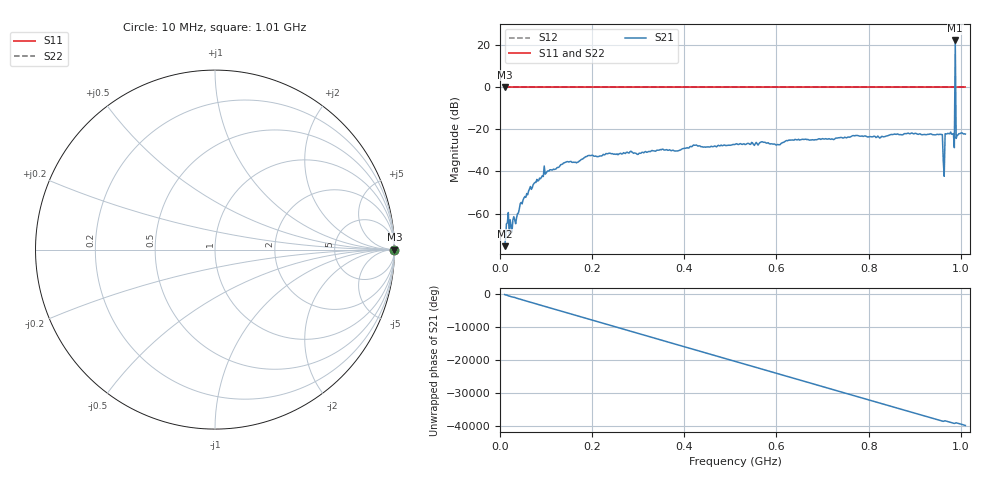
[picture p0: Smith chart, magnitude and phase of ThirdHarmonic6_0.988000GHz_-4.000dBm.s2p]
! 8/16/2025 7:46:05 AM
! C:\ANRITSUVNA\TEMP\TEMP.S2P
! CHANNEL.1
! TR.MEASUREMENT
! RAW.DATA
! RF.CORRECTION.OFF
! AVERAGING.OFF
! IF.BANDWIDTH: 5KHZ
! SWEEPTYPE:  FREQ.SWEEP(Linear)
! Reference Plane Port Info
! PORT:  PORT1  PORT2
! DISTANCE:  0  m  0  m
! TIME:  0  s  0  s
! PHASE.OFFSET:  0  deg.  0  deg.
! LOSS:  0  dB  0  dB
! REF.LOSS:  0  dB  0  dB
! REF.FREQ:  0  Hz  0  Hz
! Power Info
! POWER:  -20  dBm  -20  dBm
! EFF.POWER:  -20  dBm  -20  dBm
! SOURCE.ATTEN:  0  dB  0  dB
! TEST.ATTEN:  0  dB  0  dB
# GHZ S RI R 50.0
! FREQ.GHZ  S11RE  S11IM  S21RE  S21IM  S12RE  S12IM  S22RE  S22IM
!; PortSelection: Port_12
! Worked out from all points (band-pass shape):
!   501 points, 10 MHz to 1.01 GHz, reference 50 ohm
!   highest |S21| = 22.06 dB at 988 MHz (marker M1); lowest = -75.4 dB at 10 MHz (marker M2)
!   |S21| within 3 dB of the highest: 987.8819 MHz to 988.1293 MHz (247.3 kHz wide, 0.025 % of centre)
!   lowest |S11| = 0.0 dB at 10 MHz (marker M3)
!   |S11| at or under -10 dB: nowhere
!   |S22| runs from 0.0 to 0.0 dB; largest |S21 - S12| = 14
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0.01  1 0  -0.000148 -8.23e-05  1 0  1 0
0.018  1 0  -0.000974 -0.000426  1 0  1 0
0.024  1 0  9.88e-05 -0.000499  1 0  1 0
0.03  1 0  2.87e-05 0.000847  1 0  1 0
0.048  1 0  0.000692 0.00156  1 0  1 0
0.076  1 0  0.00548 0.000552  1 0  1 0
0.1  1 0  -0.0036 0.0083  1 0  1 0
0.178  1 0  -0.0187 -0.00511  1 0  1 0
0.344  1 0  0.0315 -0.00532  1 0  1 0
0.51  1 0  -0.042 0.0116  1 0  1 0
0.678  1 0  -0.0179 -0.0535  1 0  1 0
0.844  1 0  0.0396 0.0596  1 0  1 0
0.956  1 0  -0.056 -0.051  1 0  1 0
0.96  1 0  0.0335 0.0664  1 0  1 0
0.966  1 0  -0.0782 0.00111  1 0  1 0
0.97  1 0  0.0728 0.0275  1 0  1 0
0.982  1 0  -0.0169 -0.0743  1 0  1 0
0.984  1 0  -0.0789 0.00303  1 0  1 0
0.988  1 0  -12.23 -3.345  1 0  1 0
0.992  1 0  -0.0587 -0.0395  1 0  1 0
0.994  1 0  -0.0535 0.0506  1 0  1 0
1.01  1 0  -0.0689 -0.0338  1 0  1 0
